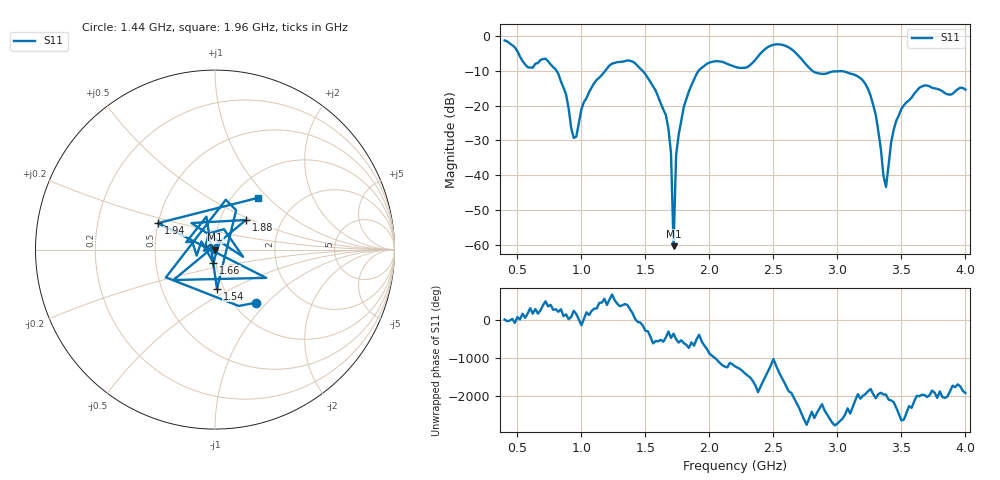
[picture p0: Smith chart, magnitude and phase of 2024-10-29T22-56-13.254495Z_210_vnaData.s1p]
!Created with skrf (http://scikit-rf.org).
# Hz S RI R 50.0
!freq ReS11 ImS11
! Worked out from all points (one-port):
!   181 points, 400 MHz to 4 GHz, reference 50 ohm
!   lowest |S11| = -60.4 dB at 1.72 GHz (marker M1), VSWR 1.00, Z = 50.1 - j0.00251 ohm
!   |S11| at or under -10 dB: 806.4 MHz to 1.185 GHz (379 MHz wide, 38.1 % of centre); 1.479 GHz to 1.915 GHz (436.7 MHz wide, 25.7 % of centre); 2.806 GHz to end of sweep
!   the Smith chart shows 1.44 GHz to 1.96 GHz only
!   S11 on the Smith chart (normalised r, x): 1.44 GHz: 1.25, -0.86; 1.54 GHz: 0.93, -0.42; 1.66 GHz: 0.97, -0.14; 1.88 GHz: 1.32, +0.46; 1.94 GHz: 0.50, +0.17; 1.96 GHz: 1.30, +0.87
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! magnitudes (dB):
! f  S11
! 400 MHz  -1.2
! 580 MHz  -8.9
! 720 MHz  -6.5
! 860 MHz  -14.8
! 940 MHz  -29.3
! 1.1 GHz  -13.5
! 1.3 GHz  -7.4
! 1.44 GHz  -8.6
! 1.54 GHz  -13.2
! 1.66 GHz  -22.7
! 1.7 GHz  -33.6
! 1.72 GHz  -60.4
! 1.74 GHz  -34.2
! 1.76 GHz  -28.3
! 1.88 GHz  -12.4
! 1.94 GHz  -9.1
! 1.96 GHz  -8.6
! 2.2 GHz  -8.8
! 2.5 GHz  -2.5
! 2.66 GHz  -4.3
! 2.82 GHz  -10.4
! 3.1 GHz  -10.8
! 3.26 GHz  -17.2
! 3.38 GHz  -43.4
! 3.44 GHz  -26.9
! 3.56 GHz  -18.4
! 3.68 GHz  -14.2
! 4 GHz  -15.4
